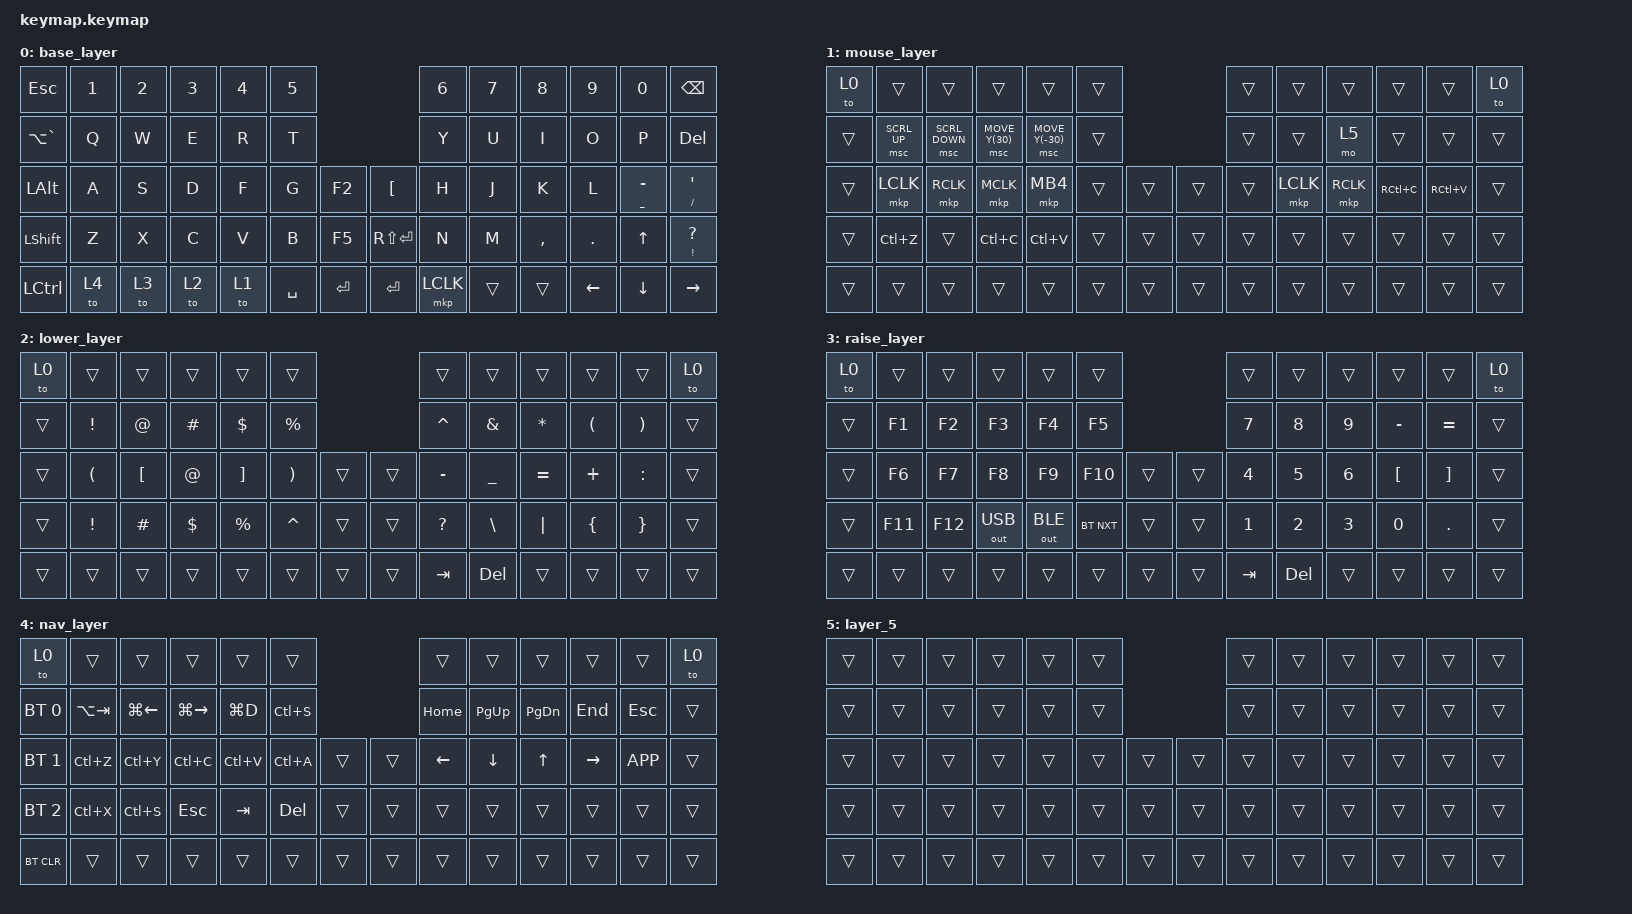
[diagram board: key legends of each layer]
#include <behaviors.dtsi>
#include <dt-bindings/zmk/bt.h>
#include <dt-bindings/zmk/keys.h>
#include <dt-bindings/zmk/outputs.h>
#include <dt-bindings/zmk/pointing.h>

/ {
    keymap {
        compatible = "zmk,keymap";

        /* =========================
         * Layer 0: Base
         * ========================= */

        base_layer {
            bindings = <
&kp ESCAPE     &kp N1  &kp N2  &kp N3  &kp N4  &kp N5                               &kp N6     &kp N7  &kp N8     &kp N9          &kp N0                &kp BSPC
&kp LA(GRAVE)  &kp Q   &kp W   &kp E   &kp R   &kp T                                &kp Y      &kp U   &kp I      &kp O           &kp P                 &kp DEL
&kp LEFT_ALT   &kp A   &kp S   &kp D   &kp F   &kp G      &kp F2     &kp LBKT       &kp H      &kp J   &kp K      &kp L           &mt UNDERSCORE MINUS  &mt SLASH SQT
&kp LSHFT      &kp Z   &kp X   &kp C   &kp V   &kp B      &kp F5     &kp RS(ENTER)  &kp N      &kp M   &kp COMMA  &kp DOT         &kp UP_ARROW          &mt EXCLAMATION QMARK
&kp LCTRL      &to 4   &to 3   &to 2   &to 1   &kp SPACE  &kp ENTER  &kp ENTER      &mkp LCLK  &trans  &trans     &kp LEFT_ARROW  &kp DOWN_ARROW        &kp RIGHT_ARROW
            >;
        };

        mouse_layer {
            bindings = <
&to 0   &trans        &trans          &trans           &trans            &trans                  &trans  &trans     &trans     &trans     &trans     &to 0
&trans  &msc SCRL_UP  &msc SCRL_DOWN  &msc MOVE_Y(30)  &msc MOVE_Y(-30)  &trans                  &trans  &trans     &mo 5      &trans     &trans     &trans
&trans  &mkp LCLK     &mkp RCLK       &mkp MCLK        &mkp MB4          &trans  &trans  &trans  &trans  &mkp LCLK  &mkp RCLK  &kp RC(C)  &kp RC(V)  &trans
&trans  &kp LC(Z)     &trans          &kp LC(C)        &kp LC(V)         &trans  &trans  &trans  &trans  &trans     &trans     &trans     &trans     &trans
&trans  &trans        &trans          &trans           &trans            &trans  &trans  &trans  &trans  &trans     &trans     &trans     &trans     &trans
            >;
        };

        lower_layer {
            bindings = <
&to 0   &trans    &trans    &trans    &trans     &trans                     &trans     &trans     &trans     &trans    &trans     &to 0
&trans  &kp EXCL  &kp AT    &kp HASH  &kp DLLR   &kp PRCNT                  &kp CARET  &kp AMPS   &kp ASTRK  &kp LPAR  &kp RPAR   &trans
&trans  &kp LPAR  &kp LBKT  &kp AT    &kp RBKT   &kp RPAR   &trans  &trans  &kp MINUS  &kp UNDER  &kp EQUAL  &kp PLUS  &kp COLON  &trans
&trans  &kp EXCL  &kp HASH  &kp DLLR  &kp PRCNT  &kp CARET  &trans  &trans  &kp QMARK  &kp BSLH   &kp PIPE   &kp LBRC  &kp RBRC   &trans
&trans  &trans    &trans    &trans    &trans     &trans     &trans  &trans  &kp TAB    &kp DEL    &trans     &trans    &trans     &trans
            >;
        };

        raise_layer {
            bindings = <
&to 0   &trans   &trans   &trans        &trans        &trans                      &trans   &trans   &trans  &trans     &trans     &to 0
&trans  &kp F1   &kp F2   &kp F3        &kp F4        &kp F5                      &kp N7   &kp N8   &kp N9  &kp MINUS  &kp EQUAL  &trans
&trans  &kp F6   &kp F7   &kp F8        &kp F9        &kp F10     &trans  &trans  &kp N4   &kp N5   &kp N6  &kp LBKT   &kp RBKT   &trans
&trans  &kp F11  &kp F12  &out OUT_USB  &out OUT_BLE  &bt BT_NXT  &trans  &trans  &kp N1   &kp N2   &kp N3  &kp N0     &kp DOT    &trans
&trans  &trans   &trans   &trans        &trans        &trans      &trans  &trans  &kp TAB  &kp DEL  &trans  &trans     &trans     &trans
            >;
        };

        nav_layer {
            bindings = <
&to 0         &trans       &trans        &trans         &trans     &trans                     &trans    &trans     &trans     &trans     &trans     &to 0
&bt BT_SEL 0  &kp LA(TAB)  &kp LG(LEFT)  &kp LG(RIGHT)  &kp LG(D)  &kp LC(S)                  &kp HOME  &kp PG_UP  &kp PG_DN  &kp END    &kp ESC    &trans
&bt BT_SEL 1  &kp LC(Z)    &kp LC(Y)     &kp LC(C)      &kp LC(V)  &kp LC(A)  &trans  &trans  &kp LEFT  &kp DOWN   &kp UP     &kp RIGHT  &kp K_APP  &trans
&bt BT_SEL 2  &kp LC(X)    &kp LC(S)     &kp ESC        &kp TAB    &kp DEL    &trans  &trans  &trans    &trans     &trans     &trans     &trans     &trans
&bt BT_CLR    &trans       &trans        &trans         &trans     &trans     &trans  &trans  &trans    &trans     &trans     &trans     &trans     &trans
            >;
        };

        layer_5 {
            bindings = <
&trans  &trans  &trans  &trans  &trans  &trans                  &trans  &trans  &trans  &trans  &trans  &trans
&trans  &trans  &trans  &trans  &trans  &trans                  &trans  &trans  &trans  &trans  &trans  &trans
&trans  &trans  &trans  &trans  &trans  &trans  &trans  &trans  &trans  &trans  &trans  &trans  &trans  &trans
&trans  &trans  &trans  &trans  &trans  &trans  &trans  &trans  &trans  &trans  &trans  &trans  &trans  &trans
&trans  &trans  &trans  &trans  &trans  &trans  &trans  &trans  &trans  &trans  &trans  &trans  &trans  &trans
            >;
        };
    };
};
